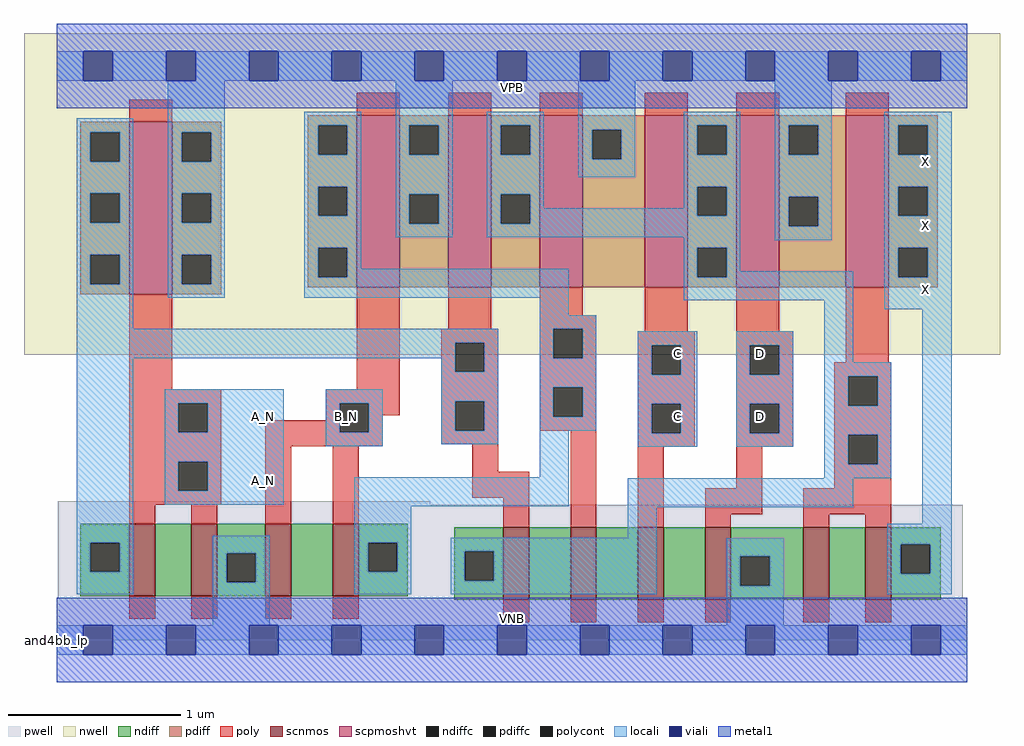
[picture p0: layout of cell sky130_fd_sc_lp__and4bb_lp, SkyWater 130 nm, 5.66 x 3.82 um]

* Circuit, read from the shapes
.subckt sky130_fd_sc_lp__and4bb_lp A_N B_N C D VGND VNB VPB VPWR X
XM1 n1 A_N n2 VNB sky130_fd_pr__nfet_01v8 w=0.42 l=0.15
XM2 VGND A_N n1 VNB sky130_fd_pr__nfet_01v8 w=0.42 l=0.15
XM3 n3 B_N VGND VNB sky130_fd_pr__nfet_01v8 w=0.42 l=0.15
XM4 n4 B_N n3 VNB sky130_fd_pr__nfet_01v8 w=0.42 l=0.15
XM5 n5 n2 n6 VNB sky130_fd_pr__nfet_01v8 w=0.42 l=0.15
XM6 n7 n4 n5 VNB sky130_fd_pr__nfet_01v8 w=0.42 l=0.15
XM7 n8 C n7 VNB sky130_fd_pr__nfet_01v8 w=0.42 l=0.15
XM8 VGND D n8 VNB sky130_fd_pr__nfet_01v8 w=0.42 l=0.15
XM9 n9 n6 VGND VNB sky130_fd_pr__nfet_01v8 w=0.42 l=0.15
XM10 X n6 n9 VNB sky130_fd_pr__nfet_01v8 w=0.42 l=0.15
XM11 VPWR A_N n2 VPB sky130_fd_pr__pfet_01v8_hvt w=1 l=0.25
XM12 VPWR B_N n4 VPB sky130_fd_pr__pfet_01v8_hvt w=1 l=0.25
XM13 n6 n2 VPWR VPB sky130_fd_pr__pfet_01v8_hvt w=1 l=0.25
XM14 VPWR n4 n6 VPB sky130_fd_pr__pfet_01v8_hvt w=1 l=0.25
XM15 n6 C VPWR VPB sky130_fd_pr__pfet_01v8_hvt w=1 l=0.25
XM16 VPWR D n6 VPB sky130_fd_pr__pfet_01v8_hvt w=1 l=0.25
XM17 X n6 VPWR VPB sky130_fd_pr__pfet_01v8_hvt w=1 l=0.25
.ends

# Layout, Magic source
magic
tech sky130A
magscale 1 2
<< nwell >>
rect -38 331 1094 704
<< pwell >>
rect 1 157 433 161
rect 1 49 1051 157
rect 0 0 1056 49
<< scnmos >>
rect 84 51 114 135
rect 156 51 186 135
rect 242 51 272 135
rect 320 51 350 135
rect 518 47 548 131
rect 596 47 626 131
rect 674 47 704 131
rect 752 47 782 131
rect 866 47 896 131
rect 938 47 968 131
<< scpmoshvt >>
rect 84 401 134 601
rect 348 409 398 609
rect 454 409 504 609
rect 560 409 610 609
rect 682 409 732 609
rect 788 409 838 609
rect 915 409 965 609
<< ndiff >>
rect 27 113 84 135
rect 27 79 39 113
rect 73 79 84 113
rect 27 51 84 79
rect 114 51 156 135
rect 186 101 242 135
rect 186 67 197 101
rect 231 67 242 101
rect 186 51 242 67
rect 272 51 320 135
rect 350 113 407 135
rect 350 79 361 113
rect 395 79 407 113
rect 350 51 407 79
rect 461 103 518 131
rect 461 69 473 103
rect 507 69 518 103
rect 461 47 518 69
rect 548 47 596 131
rect 626 47 674 131
rect 704 47 752 131
rect 782 97 866 131
rect 782 63 793 97
rect 827 63 866 97
rect 782 47 866 63
rect 896 47 938 131
rect 968 111 1025 131
rect 968 77 979 111
rect 1013 77 1025 111
rect 968 47 1025 77
<< pdiff >>
rect 27 589 84 601
rect 27 555 39 589
rect 73 555 84 589
rect 27 518 84 555
rect 27 484 39 518
rect 73 484 84 518
rect 27 447 84 484
rect 27 413 39 447
rect 73 413 84 447
rect 27 401 84 413
rect 134 589 191 601
rect 134 555 145 589
rect 179 555 191 589
rect 134 518 191 555
rect 134 484 145 518
rect 179 484 191 518
rect 134 447 191 484
rect 134 413 145 447
rect 179 413 191 447
rect 134 401 191 413
rect 291 597 348 609
rect 291 563 303 597
rect 337 563 348 597
rect 291 526 348 563
rect 291 492 303 526
rect 337 492 348 526
rect 291 455 348 492
rect 291 421 303 455
rect 337 421 348 455
rect 291 409 348 421
rect 398 597 454 609
rect 398 563 409 597
rect 443 563 454 597
rect 398 517 454 563
rect 398 483 409 517
rect 443 483 454 517
rect 398 409 454 483
rect 504 597 560 609
rect 504 563 515 597
rect 549 563 560 597
rect 504 517 560 563
rect 504 483 515 517
rect 549 483 560 517
rect 504 409 560 483
rect 610 592 682 609
rect 610 558 621 592
rect 655 558 682 592
rect 610 409 682 558
rect 732 597 788 609
rect 732 563 743 597
rect 777 563 788 597
rect 732 526 788 563
rect 732 492 743 526
rect 777 492 788 526
rect 732 455 788 492
rect 732 421 743 455
rect 777 421 788 455
rect 732 409 788 421
rect 838 597 915 609
rect 838 563 849 597
rect 883 563 915 597
rect 838 514 915 563
rect 838 480 849 514
rect 883 480 915 514
rect 838 409 915 480
rect 965 597 1022 609
rect 965 563 976 597
rect 1010 563 1022 597
rect 965 526 1022 563
rect 965 492 976 526
rect 1010 492 1022 526
rect 965 455 1022 492
rect 965 421 976 455
rect 1010 421 1022 455
rect 965 409 1022 421
<< ndiffc >>
rect 39 79 73 113
rect 197 67 231 101
rect 361 79 395 113
rect 473 69 507 103
rect 793 63 827 97
rect 979 77 1013 111
<< pdiffc >>
rect 39 555 73 589
rect 39 484 73 518
rect 39 413 73 447
rect 145 555 179 589
rect 145 484 179 518
rect 145 413 179 447
rect 303 563 337 597
rect 303 492 337 526
rect 303 421 337 455
rect 409 563 443 597
rect 409 483 443 517
rect 515 563 549 597
rect 515 483 549 517
rect 621 558 655 592
rect 743 563 777 597
rect 743 492 777 526
rect 743 421 777 455
rect 849 563 883 597
rect 849 480 883 514
rect 976 563 1010 597
rect 976 492 1010 526
rect 976 421 1010 455
<< poly >>
rect 84 601 134 627
rect 348 609 398 635
rect 454 609 504 635
rect 560 609 610 635
rect 682 609 732 635
rect 788 609 838 635
rect 915 609 965 635
rect 84 291 134 401
rect 348 291 398 409
rect 454 361 504 409
rect 560 377 610 409
rect 560 361 626 377
rect 84 275 191 291
rect 84 241 141 275
rect 175 241 191 275
rect 312 275 398 291
rect 312 255 328 275
rect 84 207 191 241
rect 84 173 141 207
rect 175 173 191 207
rect 84 157 191 173
rect 242 241 328 255
rect 362 261 398 275
rect 446 345 512 361
rect 446 311 462 345
rect 496 311 512 345
rect 446 277 512 311
rect 362 241 378 261
rect 242 225 378 241
rect 446 243 462 277
rect 496 243 512 277
rect 560 327 576 361
rect 610 327 626 361
rect 682 358 732 409
rect 788 358 838 409
rect 560 293 626 327
rect 560 259 576 293
rect 610 259 626 293
rect 560 243 626 259
rect 446 227 512 243
rect 84 135 114 157
rect 156 135 186 157
rect 242 135 272 225
rect 320 135 350 225
rect 482 195 512 227
rect 482 165 548 195
rect 518 131 548 165
rect 596 131 626 243
rect 674 342 740 358
rect 674 308 690 342
rect 724 308 740 342
rect 674 274 740 308
rect 674 240 690 274
rect 724 240 740 274
rect 674 224 740 240
rect 788 342 854 358
rect 788 308 804 342
rect 838 308 854 342
rect 915 322 965 409
rect 788 274 854 308
rect 788 240 804 274
rect 838 240 854 274
rect 788 224 854 240
rect 902 306 968 322
rect 902 272 918 306
rect 952 272 968 306
rect 902 238 968 272
rect 674 131 704 224
rect 788 176 818 224
rect 902 204 918 238
rect 952 204 968 238
rect 902 176 968 204
rect 752 146 818 176
rect 866 146 968 176
rect 752 131 782 146
rect 866 131 896 146
rect 938 131 968 146
rect 84 25 114 51
rect 156 25 186 51
rect 242 25 272 51
rect 320 25 350 51
rect 518 21 548 47
rect 596 21 626 47
rect 674 21 704 47
rect 752 21 782 47
rect 866 21 896 47
rect 938 21 968 47
<< polycont >>
rect 141 241 175 275
rect 141 173 175 207
rect 328 241 362 275
rect 462 311 496 345
rect 462 243 496 277
rect 576 327 610 361
rect 576 259 610 293
rect 690 308 724 342
rect 690 240 724 274
rect 804 308 838 342
rect 804 240 838 274
rect 918 272 952 306
rect 918 204 952 238
<< locali >>
rect 0 649 31 683
rect 65 649 127 683
rect 161 649 223 683
rect 257 649 319 683
rect 353 649 415 683
rect 449 649 511 683
rect 545 649 607 683
rect 641 649 703 683
rect 737 649 799 683
rect 833 649 895 683
rect 929 649 991 683
rect 1025 649 1056 683
rect 23 589 89 605
rect 23 555 39 589
rect 73 555 89 589
rect 23 518 89 555
rect 23 484 39 518
rect 73 484 89 518
rect 23 447 89 484
rect 23 413 39 447
rect 73 413 89 447
rect 23 361 89 413
rect 129 589 195 649
rect 129 555 145 589
rect 179 555 195 589
rect 129 518 195 555
rect 129 484 145 518
rect 179 484 195 518
rect 129 447 195 484
rect 129 413 145 447
rect 179 413 195 447
rect 129 397 195 413
rect 287 597 353 613
rect 287 563 303 597
rect 337 563 353 597
rect 287 526 353 563
rect 287 492 303 526
rect 337 492 353 526
rect 287 455 353 492
rect 393 597 459 649
rect 393 563 409 597
rect 443 563 459 597
rect 393 517 459 563
rect 393 483 409 517
rect 443 483 459 517
rect 393 467 459 483
rect 499 597 565 613
rect 499 563 515 597
rect 549 563 565 597
rect 499 517 565 563
rect 605 592 671 649
rect 605 558 621 592
rect 655 558 671 592
rect 605 537 671 558
rect 727 597 793 613
rect 727 563 743 597
rect 777 563 793 597
rect 499 483 515 517
rect 549 501 565 517
rect 727 526 793 563
rect 727 501 743 526
rect 549 492 743 501
rect 777 492 793 526
rect 549 483 793 492
rect 499 467 793 483
rect 287 421 303 455
rect 337 431 353 455
rect 727 455 793 467
rect 833 597 899 649
rect 833 563 849 597
rect 883 563 899 597
rect 833 514 899 563
rect 833 480 849 514
rect 883 480 899 514
rect 833 464 899 480
rect 960 597 1038 613
rect 960 563 976 597
rect 1010 563 1038 597
rect 960 526 1038 563
rect 960 492 976 526
rect 1010 492 1038 526
rect 337 421 594 431
rect 287 397 594 421
rect 560 377 594 397
rect 727 421 743 455
rect 777 428 793 455
rect 960 455 1038 492
rect 777 421 924 428
rect 727 394 924 421
rect 560 361 626 377
rect 23 345 512 361
rect 23 327 462 345
rect 23 113 89 327
rect 446 311 462 327
rect 496 311 512 345
rect 125 275 263 291
rect 125 241 141 275
rect 175 241 263 275
rect 125 207 263 241
rect 312 275 378 291
rect 312 241 328 275
rect 362 241 378 275
rect 312 225 378 241
rect 446 277 512 311
rect 446 243 462 277
rect 496 243 512 277
rect 446 227 512 243
rect 560 327 576 361
rect 610 327 626 361
rect 560 293 626 327
rect 560 259 576 293
rect 610 259 626 293
rect 560 243 626 259
rect 674 342 743 358
rect 674 308 690 342
rect 724 308 743 342
rect 674 274 743 308
rect 125 173 141 207
rect 175 173 263 207
rect 560 189 594 243
rect 674 240 690 274
rect 724 240 743 274
rect 674 224 743 240
rect 788 342 854 358
rect 788 308 804 342
rect 838 308 854 342
rect 788 274 854 308
rect 788 240 804 274
rect 838 240 854 274
rect 788 224 854 240
rect 890 322 924 394
rect 960 421 976 455
rect 1010 421 1038 455
rect 960 384 1038 421
rect 890 306 968 322
rect 890 272 918 306
rect 952 272 968 306
rect 890 238 968 272
rect 125 157 263 173
rect 345 155 594 189
rect 890 204 918 238
rect 952 204 968 238
rect 890 188 968 204
rect 23 79 39 113
rect 73 79 89 113
rect 23 53 89 79
rect 181 101 247 121
rect 181 67 197 101
rect 231 67 247 101
rect 181 17 247 67
rect 345 113 411 155
rect 662 154 924 188
rect 662 119 696 154
rect 1004 135 1038 384
rect 345 79 361 113
rect 395 79 411 113
rect 345 53 411 79
rect 457 103 696 119
rect 457 69 473 103
rect 507 69 696 103
rect 457 53 696 69
rect 777 97 843 118
rect 777 63 793 97
rect 827 63 843 97
rect 777 17 843 63
rect 963 111 1038 135
rect 963 77 979 111
rect 1013 77 1038 111
rect 963 53 1038 77
rect 0 -17 31 17
rect 65 -17 127 17
rect 161 -17 223 17
rect 257 -17 319 17
rect 353 -17 415 17
rect 449 -17 511 17
rect 545 -17 607 17
rect 641 -17 703 17
rect 737 -17 799 17
rect 833 -17 895 17
rect 929 -17 991 17
rect 1025 -17 1056 17
<< viali >>
rect 31 649 65 683
rect 127 649 161 683
rect 223 649 257 683
rect 319 649 353 683
rect 415 649 449 683
rect 511 649 545 683
rect 607 649 641 683
rect 703 649 737 683
rect 799 649 833 683
rect 895 649 929 683
rect 991 649 1025 683
rect 31 -17 65 17
rect 127 -17 161 17
rect 223 -17 257 17
rect 319 -17 353 17
rect 415 -17 449 17
rect 511 -17 545 17
rect 607 -17 641 17
rect 703 -17 737 17
rect 799 -17 833 17
rect 895 -17 929 17
rect 991 -17 1025 17
<< metal1 >>
rect 0 683 1056 715
rect 0 649 31 683
rect 65 649 127 683
rect 161 649 223 683
rect 257 649 319 683
rect 353 649 415 683
rect 449 649 511 683
rect 545 649 607 683
rect 641 649 703 683
rect 737 649 799 683
rect 833 649 895 683
rect 929 649 991 683
rect 1025 649 1056 683
rect 0 617 1056 649
rect 0 17 1056 49
rect 0 -17 31 17
rect 65 -17 127 17
rect 161 -17 223 17
rect 257 -17 319 17
rect 353 -17 415 17
rect 449 -17 511 17
rect 545 -17 607 17
rect 641 -17 703 17
rect 737 -17 799 17
rect 833 -17 895 17
rect 929 -17 991 17
rect 1025 -17 1056 17
rect 0 -49 1056 -17
<< labels >>
flabel pwell s 0 0 1056 49 0 FreeSans 200 0 0 0 VNB
port 6 nsew ground bidirectional
flabel nwell s 0 617 1056 666 0 FreeSans 200 0 0 0 VPB
port 7 nsew power bidirectional
rlabel comment s 0 0 0 0 4 and4bb_lp
flabel metal1 s 0 617 1056 666 0 FreeSans 340 0 0 0 VPWR
port 8 nsew power bidirectional
flabel metal1 s 0 0 1056 49 0 FreeSans 340 0 0 0 VGND
port 5 nsew ground bidirectional
flabel locali s 319 242 353 276 0 FreeSans 340 0 0 0 B_N
port 2 nsew signal input
flabel locali s 799 242 833 276 0 FreeSans 340 0 0 0 D
port 4 nsew signal input
flabel locali s 799 316 833 350 0 FreeSans 340 0 0 0 D
port 4 nsew signal input
flabel locali s 703 242 737 276 0 FreeSans 340 0 0 0 C
port 3 nsew signal input
flabel locali s 703 316 737 350 0 FreeSans 340 0 0 0 C
port 3 nsew signal input
flabel locali s 991 390 1025 424 0 FreeSans 340 0 0 0 X
port 9 nsew signal output
flabel locali s 991 464 1025 498 0 FreeSans 340 0 0 0 X
port 9 nsew signal output
flabel locali s 991 538 1025 572 0 FreeSans 340 0 0 0 X
port 9 nsew signal output
flabel locali s 223 168 257 202 0 FreeSans 340 0 0 0 A_N
port 1 nsew signal input
flabel locali s 223 242 257 276 0 FreeSans 340 0 0 0 A_N
port 1 nsew signal input
<< properties >>
string LEFsite unit
string LEFclass CORE
string FIXED_BBOX 0 0 1056 666
string GDS_FILE $PDKPATH/libs.ref/sky130_fd_sc_lp/gds/sky130_fd_sc_lp.gds
string LEFsymmetry X Y R90
string GDS_END 5150578
string GDS_START 5141520
<< end >>
